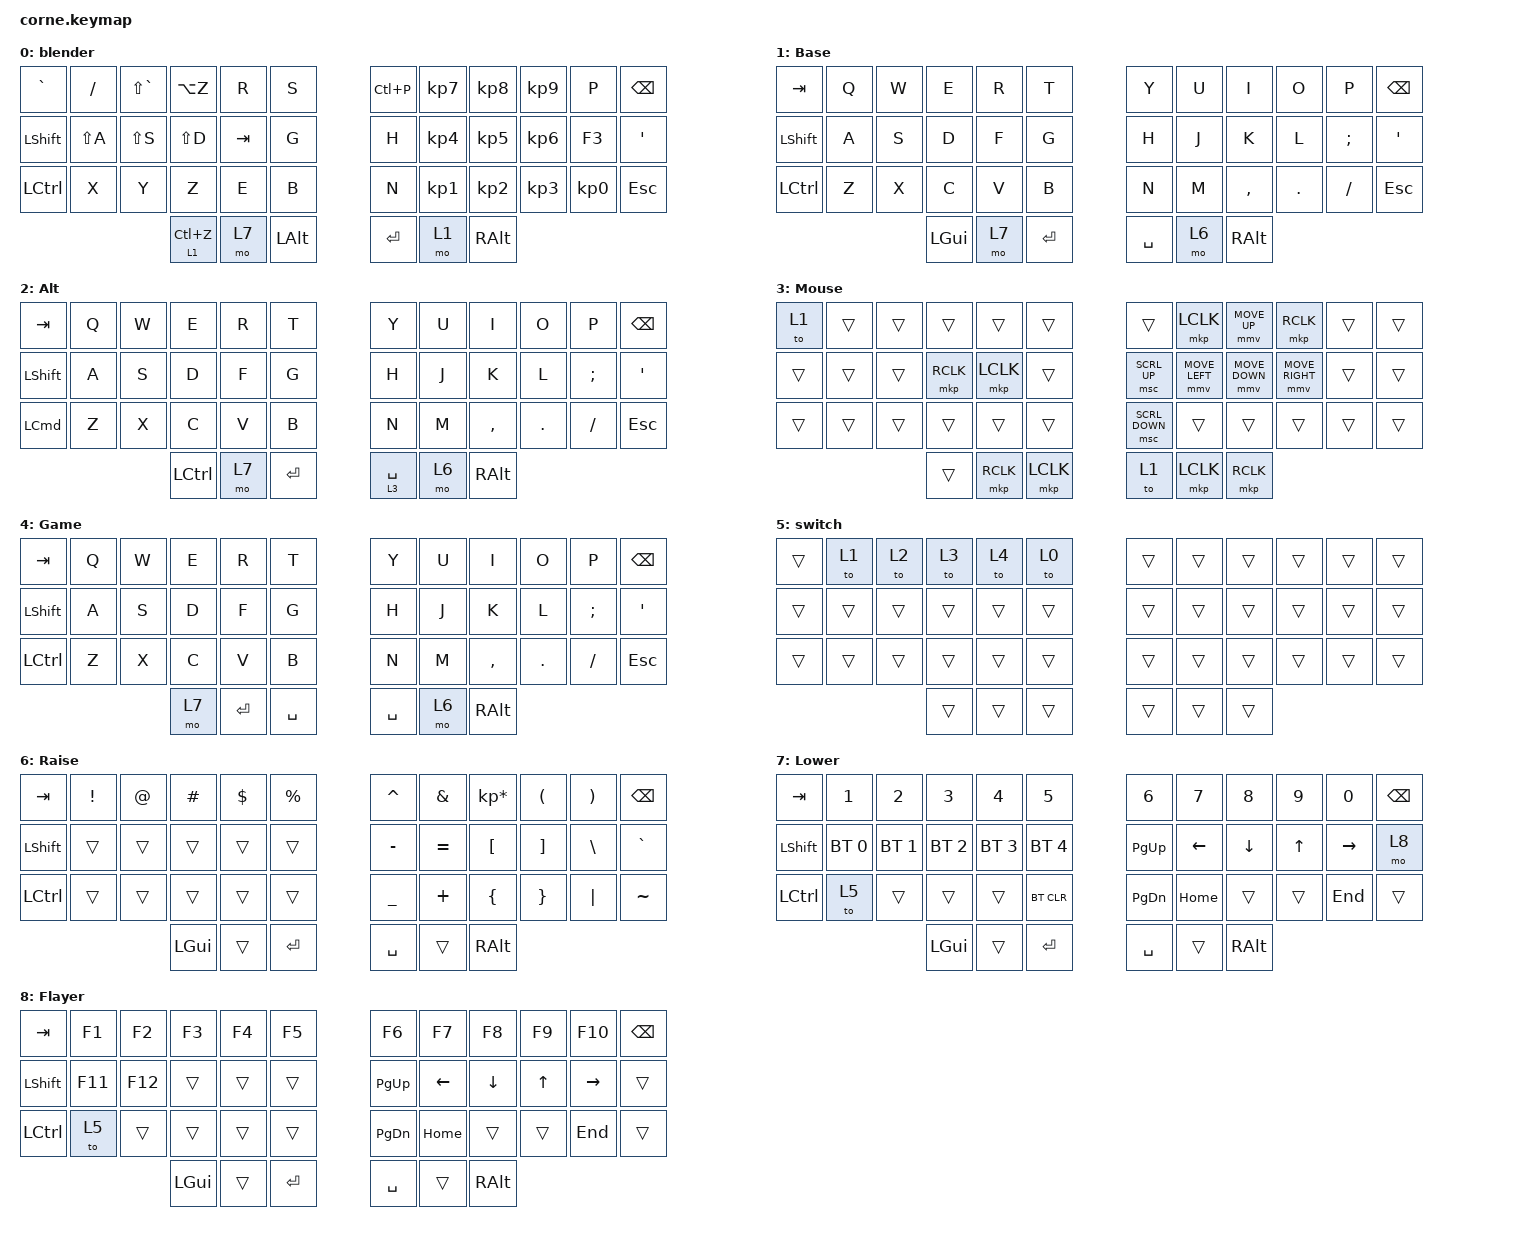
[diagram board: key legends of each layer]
/*
 * Copyright (c) 2020 The ZMK Contributors
 *
 * SPDX-License-Identifier: MIT
 */

#include <behaviors.dtsi>
#include <dt-bindings/zmk/bt.h>
#include <dt-bindings/zmk/keys.h>
#include <dt-bindings/zmk/pointing.h>

/ {
    behaviors {
        td_gui_alt: tap_dance_gui_alt {
            compatible = "zmk,behavior-tap-dance";
            #binding-cells = <0>;
            tapping-term-ms = <200>;
            bindings = <&kp LGUI>, <&tog 2>;
        };

        td_ctrl_alt: tap_dance_ctrl_alt {
            compatible = "zmk,behavior-tap-dance";
            #binding-cells = <0>;
            tapping-term-ms = <200>;
            bindings = <&kp LCTRL>, <&tog 2>;
        };
    };

    combos {
        compatible = "zmk,combos";

        Toggle_mouse: toggle_mouse {
            timeout-ms = <150>;
            slow-release;
            key-positions = <19 8 21>;
            layers = <1>;
            bindings = <&tog 3>;
        };

        soft_off_combo: soft_off_combo {
            timeout-ms = <200>;
            require-prior-idle-ms = <500>;
            slow-release;
            key-positions = <5 6>;
            bindings = <&soft_off>;
        };
    };

    keymap {
        compatible = "zmk,keymap";

        blender {
            display-name = "blender";
            bindings = <
&kp GRAVE         &kp SLASH  &kp LS(GRAVE)  &kp LA(Z)    &kp R    &kp S           &kp LC(P)  &kp KP_NUMBER_7  &kp KP_NUMBER_8  &kp KP_NUMBER_9  &kp P      &kp BSPC
&kp LEFT_SHIFT    &kp LS(A)  &kp LS(S)      &kp LS(D)    &kp TAB  &kp G           &kp H      &kp KP_NUMBER_4  &kp KP_NUMBER_5  &kp KP_NUMBER_6  &kp F3     &kp SQT
&kp LEFT_CONTROL  &kp X      &kp Y          &kp Z        &kp E    &kp B           &kp N      &kp KP_NUMBER_1  &kp KP_NUMBER_2  &kp KP_NUMBER_3  &kp KP_N0  &kp ESC
                                            &lt 1 LC(Z)  &mo 7    &kp LEFT_ALT    &kp ENTER  &mo 1            &kp RALT
            >;
        };

        default_layer {
            // -----------------------------------------------------------------------------------------
            // |  TAB |  Q  |  W  |  E  |  R  |  T  |   |  Y  |  U   |  I  |  O  |  P  | BKSP |
            // | CTRL |  A  |  S  |  D  |  F  |  G  |   |  H  |  J   |  K  |  L  |  ;  |  '   |
            // | SHFT |  Z  |  X  |  C  |  V  |  B  |   |  N  |  M   |  ,  |  .  |  /  | ESC  |
            //                    | GUI | LWR | SPC |   | ENT | RSE  | ALT |

            display-name = "Base";
            bindings = <
&kp TAB           &kp Q  &kp W  &kp E         &kp R  &kp T        &kp Y      &kp U  &kp I      &kp O    &kp P     &kp BSPC
&kp LEFT_SHIFT    &kp A  &kp S  &kp D         &kp F  &kp G        &kp H      &kp J  &kp K      &kp L    &kp SEMI  &kp SQT
&kp LEFT_CONTROL  &kp Z  &kp X  &kp C         &kp V  &kp B        &kp N      &kp M  &kp COMMA  &kp DOT  &kp FSLH  &kp ESC
                                &kp LEFT_GUI  &mo 7  &kp ENTER    &kp SPACE  &mo 6  &kp RALT
            >;
        };

        alt_layer {
            // -----------------------------------------------------------------------------------------
            // |  TAB |  Q  |  W  |  E  |  R  |  T  |   |  Y  |  U   |  I  |  O  |  P  | BKSP |
            // |  GUI |  A  |  S  |  D  |  F  |  G  |   |  H  |  J   |  K  |  L  |  ;  |  '   |
            // | SHFT |  Z  |  X  |  C  |  V  |  B  |   |  N  |  M   |  ,  |  .  |  /  | ESC  |
            //                    | CTL | LWR | ENT |   | SPC | RSE  | ALT |

            display-name = "Alt";
            bindings = <
&kp TAB           &kp Q  &kp W  &kp E             &kp R  &kp T        &kp Y        &kp U  &kp I      &kp O    &kp P     &kp BSPC
&kp LEFT_SHIFT    &kp A  &kp S  &kp D             &kp F  &kp G        &kp H        &kp J  &kp K      &kp L    &kp SEMI  &kp SQT
&kp LEFT_COMMAND  &kp Z  &kp X  &kp C             &kp V  &kp B        &kp N        &kp M  &kp COMMA  &kp DOT  &kp FSLH  &kp ESC
                                &kp LEFT_CONTROL  &mo 7  &kp ENTER    &lt 3 SPACE  &mo 6  &kp RALT
            >;
        };

        mouse_layer {
            display-name = "Mouse";
            bindings = <
&to 1   &trans  &trans  &trans     &trans     &trans       &trans          &mkp LCLK       &mmv MOVE_UP    &mkp RCLK        &trans  &trans
&trans  &trans  &trans  &mkp RCLK  &mkp LCLK  &trans       &msc SCRL_UP    &mmv MOVE_LEFT  &mmv MOVE_DOWN  &mmv MOVE_RIGHT  &trans  &trans
&trans  &trans  &trans  &trans     &trans     &trans       &msc SCRL_DOWN  &trans          &trans          &trans           &trans  &trans
                        &trans     &mkp RCLK  &mkp LCLK    &to 1           &mkp LCLK       &mkp RCLK
            >;
        };

        game_layer {
            display-name = "Game";
            bindings = <
&kp TAB           &kp Q  &kp W  &kp E  &kp R      &kp T        &kp Y      &kp U  &kp I      &kp O    &kp P     &kp BSPC
&kp LEFT_SHIFT    &kp A  &kp S  &kp D  &kp F      &kp G        &kp H      &kp J  &kp K      &kp L    &kp SEMI  &kp SQT
&kp LEFT_CONTROL  &kp Z  &kp X  &kp C  &kp V      &kp B        &kp N      &kp M  &kp COMMA  &kp DOT  &kp FSLH  &kp ESC
                                &mo 7  &kp ENTER  &kp SPACE    &kp SPACE  &mo 6  &kp RALT
            >;
        };

        layer_switcher {
            bindings = <
&trans  &to 1   &to 2   &to 3   &to 4   &to 0     &trans  &trans  &trans  &trans  &trans  &trans
&trans  &trans  &trans  &trans  &trans  &trans    &trans  &trans  &trans  &trans  &trans  &trans
&trans  &trans  &trans  &trans  &trans  &trans    &trans  &trans  &trans  &trans  &trans  &trans
                        &trans  &trans  &trans    &trans  &trans  &trans
            >;

            label = "switch";
        };

        raise_layer {
            // -----------------------------------------------------------------------------------------
            // |  TAB |  !  |  @  |  #  |  $  |  %  |   |  ^  |  &  |  *  |  (  |  )  | BKSP |
            // | CTRL |     |     |     |     |     |   |  -  |  =  |  [  |  ]  |  \  |  `   |
            // | SHFT |     |     |     |     |     |   |  _  |  +  |  {  |  }  | "|" |  ~   |
            //                    | GUI |     | SPC |   | ENT |     | ALT |

            display-name = "Raise";
            bindings = <
&kp TAB           &kp EXCL  &kp AT  &kp HASH  &kp DLLR  &kp PRCNT    &kp CARET  &kp AMPS   &kp KP_MULTIPLY  &kp LPAR  &kp RPAR  &kp BSPC
&kp LEFT_SHIFT    &trans    &trans  &trans    &trans    &trans       &kp MINUS  &kp EQUAL  &kp LBKT         &kp RBKT  &kp BSLH  &kp GRAVE
&kp LEFT_CONTROL  &trans    &trans  &trans    &trans    &trans       &kp UNDER  &kp PLUS   &kp LBRC         &kp RBRC  &kp PIPE  &kp TILDE
                                    &kp LGUI  &trans    &kp ENTER    &kp SPACE  &trans     &kp RALT
            >;
        };

        lower_layer {
            // -----------------------------------------------------------------------------------------
            // |  TAB |  1  |  2  |  3  |  4  |  5  |   |  6  |  7  |  8  |  9  |  0  | BKSP |
            // | BTCLR| BT1 | BT2 | BT3 | BT4 | BT5 |   | LFT | DWN |  UP | RGT |     |      |
            // | SHFT |     |     |     |     |     |   |     |     |     |     |     |      |
            //                    | GUI |     | SPC |   | ENT |     | ALT |

            display-name = "Lower";
            bindings = <
&kp TAB         &kp N1        &kp N2        &kp N3        &kp N4        &kp N5          &kp N6         &kp N7          &kp N8          &kp N9        &kp N0     &kp BSPC
&kp LEFT_SHIFT  &bt BT_SEL 0  &bt BT_SEL 1  &bt BT_SEL 2  &bt BT_SEL 3  &bt BT_SEL 4    &kp PAGE_UP    &kp LEFT_ARROW  &kp DOWN_ARROW  &kp UP_ARROW  &kp RIGHT  &mo 8
&kp LCTRL       &to 5         &trans        &trans        &trans        &bt BT_CLR      &kp PAGE_DOWN  &kp HOME        &trans          &trans        &kp END    &trans
                                            &kp LGUI      &trans        &kp RET         &kp SPACE      &trans          &kp RALT
            >;
        };

        FLayer {
            display-name = "Flayer";
            bindings = <
&kp TAB         &kp F1   &kp F2   &kp F3    &kp F4  &kp F5     &kp F6         &kp F7          &kp F8          &kp F9        &kp F10    &kp BSPC
&kp LEFT_SHIFT  &kp F11  &kp F12  &trans    &trans  &trans     &kp PAGE_UP    &kp LEFT_ARROW  &kp DOWN_ARROW  &kp UP_ARROW  &kp RIGHT  &trans
&kp LCTRL       &to 5    &trans   &trans    &trans  &trans     &kp PAGE_DOWN  &kp HOME        &trans          &trans        &kp END    &trans
                                  &kp LGUI  &trans  &kp RET    &kp SPACE      &trans          &kp RALT
            >;
        };
    };
};
